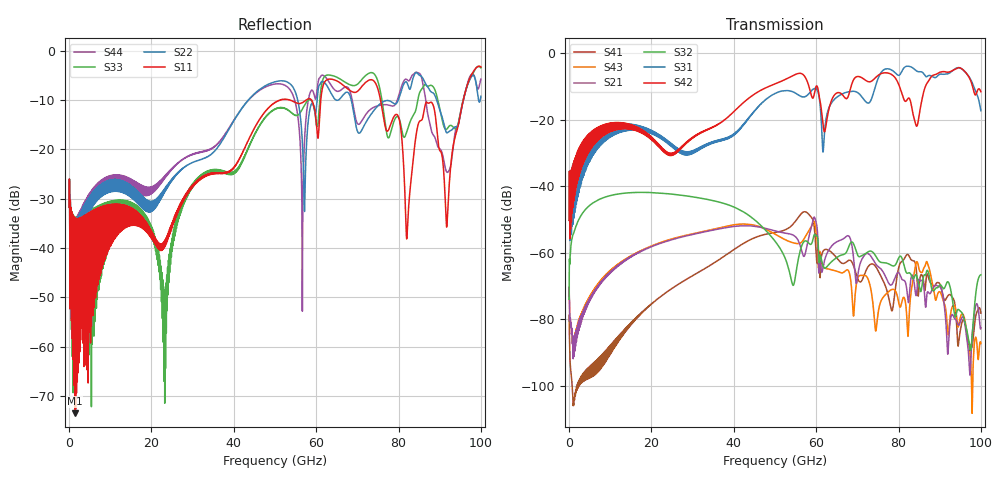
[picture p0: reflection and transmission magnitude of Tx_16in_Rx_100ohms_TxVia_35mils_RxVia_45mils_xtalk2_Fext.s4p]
! Info: Touchstone file created by Circ.  Input file=Tx_16in_Rx_100ohms_TxVia_35mils_RxVia_45mils.circ
# Hz S RI R 50
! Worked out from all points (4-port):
!   10000 points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, 10 MHz to 100 GHz, reference 50 ohm
!   strongest paths, dB at 10 MHz, 25.01 GHz, 50.01 GHz, 75.01 GHz, 100 GHz:
!     S42: -50.3, -30.8, -9.3, -6.7, -11.6
!     S31: -50.3, -27.9, -12.2, -7.7, -17.3
!     S32: -74.1, -42.4, -56.6, -62.2, -66.7
!     S21: -70.5, -56.1, -53.5, -64.2, -82.6
!     S43: -70.5, -55.9, -54.4, -78.5, -87.3
!     S41: -78.9, -70.8, -53.9, -65.4, -78.2
!   lowest |S11| = -73.5 dB at 1.39 GHz (marker M1), VSWR 1.00, Z = 50 + j0.0105 ohm
!   |S11| at or under -10 dB: start of sweep to 51.09 GHz; 53.63 GHz to 57.52 GHz (3.89 GHz wide, 7 % of centre); 75.64 GHz to 95.73 GHz (20.09 GHz wide, 23.4 % of centre)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
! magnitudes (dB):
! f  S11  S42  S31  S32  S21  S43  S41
! 10 MHz  -31.7  -50.3  -50.3  -74.1  -70.5  -70.5  -78.9
! 1.39 GHz  -73.5  -36.9  -37.6  -53.1  -89.4  -88.1  -102.7
! 23.14 GHz  -38.6  -29.8  -26.2  -42.2  -56.8  -56.6  -72.4
! 57.2 GHz  -10.2  -7.0  -13.1  -56.6  -60.9  -55.6  -47.7
! 74.09 GHz  -6.2  -7.8  -11.3  -60.3  -62.7  -79.4  -63.7
! 82.11 GHz  -36.9  -14.0  -3.9  -66.2  -72.2  -81.7  -60.6
! 100 GHz  -3.3  -11.6  -17.3  -66.7  -82.6  -87.3  -78.2
